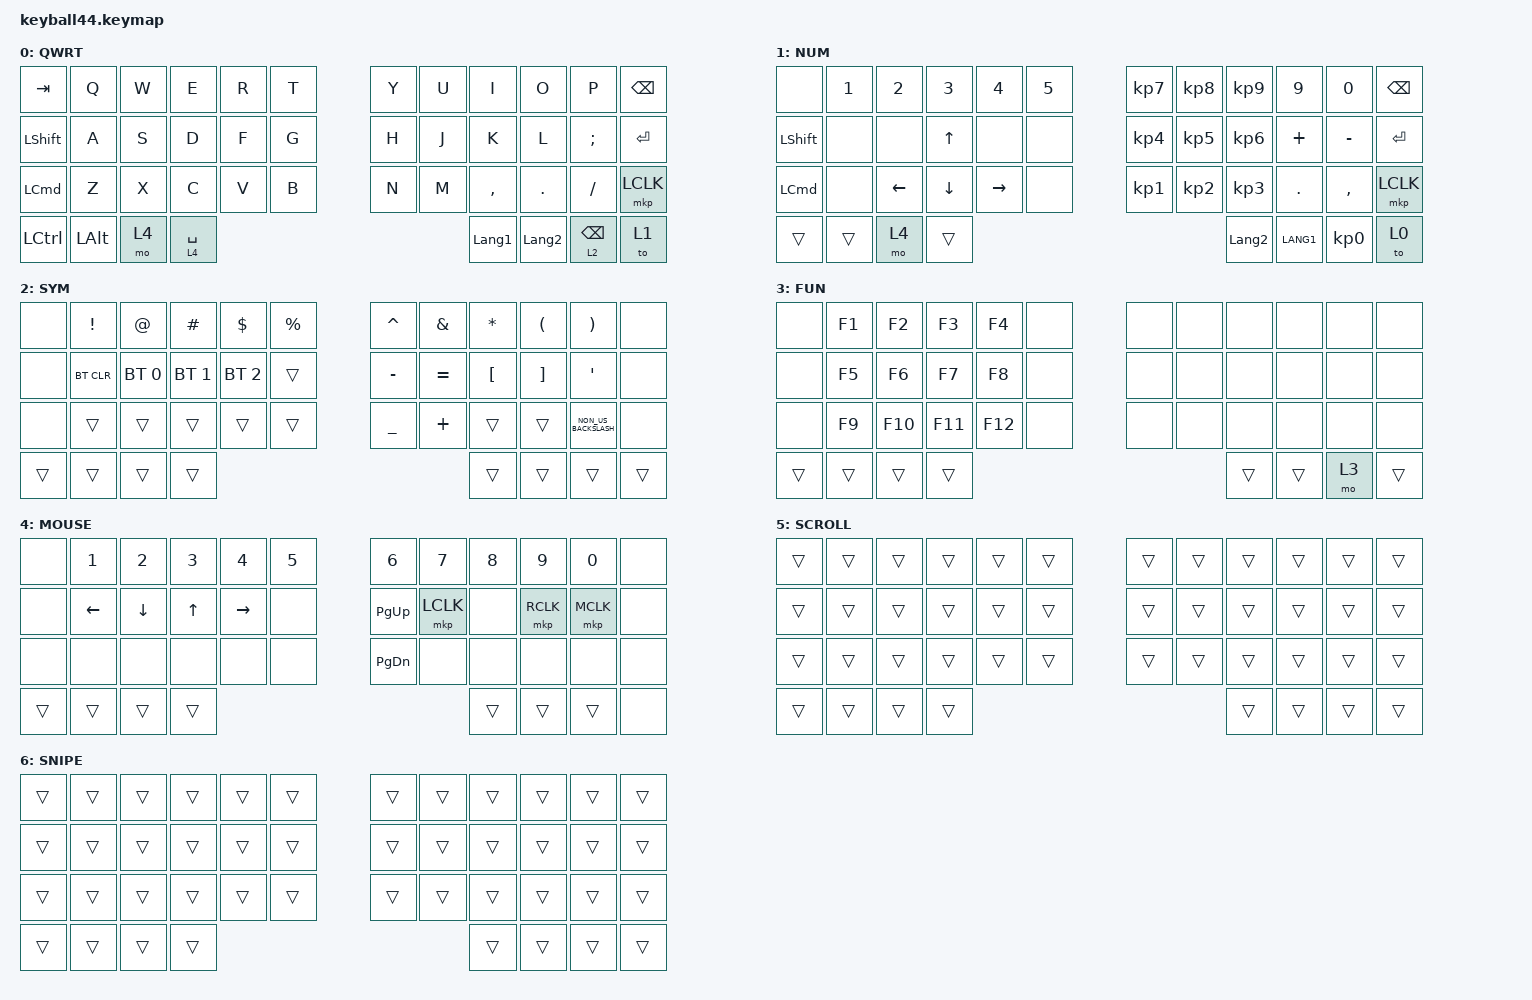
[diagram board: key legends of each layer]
#define DEFAULT 0
#define NUM     1
#define SYM     2
#define FUN     3
#define MOUSE   4
#define SCROLL  5
#define SNIPE   6
#define ZMK_BEHAVIORS_KEEP_MKP

#include <behaviors/mouse_keys.dtsi>
#include <dt-bindings/zmk/mouse.h>
#include <behaviors.dtsi>
#include <dt-bindings/zmk/bt.h>
#include <dt-bindings/zmk/keys.h>
#include <dt-bindings/zmk/pointing.h>

&lt {
    tapping-term-ms = <240>;
    flavor = "balanced";
    quick-tap-ms = <150>;
};

&mt {
    tapping-term-ms = <200>;
    flavor = "tap-preferred";
    quick-tap-ms = <150>;
};

&caps_word { continue-list = <UNDERSCORE MINUS>; };

/ {
    // custom shift using mod-morph 

    behaviors {
        cmqus: comma_question {
            compatible = "zmk,behavior-mod-morph";
            label = "COMMA_QUESTION";
            #binding-cells = <0>;
            bindings = <&kp COMMA>, <&kp QUESTION>;

            mods = <(MOD_LSFT|MOD_RSFT)>;
        };

        dtsmi: dot_semi {
            compatible = "zmk,behavior-mod-morph";
            label = "DOT_SEMI";
            #binding-cells = <0>;
            bindings = <&kp DOT>, <&kp SEMI>;

            mods = <(MOD_LSFT|MOD_RSFT)>;
        };
    };

    keymap {
        compatible = "zmk,keymap";

        default_layer {
            label = "QWRT";
            bindings = <
&kp TAB           &kp Q     &kp W  &kp E        &kp R           &kp T                      &kp Y            &kp U  &kp I      &kp O    &kp P      &kp BACKSPACE
&kp LEFT_SHIFT    &kp A     &kp S  &kp D        &kp F           &kp G                      &kp H            &kp J  &kp K      &kp L    &kp SEMI   &kp ENTER
&kp LEFT_COMMAND  &kp Z     &kp X  &kp C        &kp V           &kp B                      &kp N            &kp M  &kp COMMA  &kp DOT  &kp SLASH  &mkp LCLK
&kp LCTRL         &kp LALT  &mo 4  &lt 4 SPACE  &kp LANGUAGE_1             &kp LANGUAGE_2  &lt 2 BACKSPACE                                        &to 1
            >;
        };

        number_layer {
            label = "NUM";
            bindings = <
&none             &kp NUMBER_1  &kp NUMBER_2  &kp NUMBER_3  &kp NUMBER_4    &kp NUMBER_5                 &kp KP_NUMBER_7  &kp KP_NUMBER_8  &kp KP_NUMBER_9  &kp NUMBER_9  &kp NUMBER_0  &kp BACKSPACE
&kp LEFT_SHIFT    &none         &none         &kp UP_ARROW  &none           &none                        &kp KP_NUMBER_4  &kp KP_NUMBER_5  &kp KP_NUMBER_6  &kp PLUS      &kp MINUS     &kp RET
&kp LEFT_COMMAND  &none         &kp LEFT      &kp DOWN      &kp RIGHT       &none                        &kp KP_NUMBER_1  &kp KP_NUMBER_2  &kp KP_NUMBER_3  &kp DOT       &kp COMMA     &mkp LCLK
&trans            &trans        &mo 4         &trans        &kp LANGUAGE_2                    &kp LANG1  &kp KP_NUMBER_0                                                                &to 0
            >;
        };

        symbol_layer {
            label = "SYM";
            bindings = <
&none   &kp EXCLAMATION  &kp AT_SIGN   &kp HASH      &kp DOLLAR    &kp PERCENT              &kp CARET       &kp AMPERSAND  &kp ASTERISK      &kp LEFT_PARENTHESIS  &kp RIGHT_PARENTHESIS  &none
&none   &bt BT_CLR       &bt BT_SEL 0  &bt BT_SEL 1  &bt BT_SEL 2  &trans                   &kp MINUS       &kp EQUAL      &kp LEFT_BRACKET  &kp RIGHT_BRACKET     &kp SQT                &none
&none   &trans           &trans        &trans        &trans        &trans                   &kp UNDERSCORE  &kp PLUS       &trans            &trans                &kp NON_US_BACKSLASH   &none
&trans  &trans           &trans        &trans        &trans                         &trans  &trans                                                                                        &trans
            >;
        };

        function_layer {
            label = "FUN";
            bindings = <
&none   &kp F1  &kp F2   &kp F3   &kp F4   &none              &none  &none  &none  &none  &none  &none
&none   &kp F5  &kp F6   &kp F7   &kp F8   &none              &none  &none  &none  &none  &none  &none
&none   &kp F9  &kp F10  &kp F11  &kp F12  &none              &none  &none  &none  &none  &none  &none
&trans  &trans  &trans   &trans   &trans              &trans  &mo 3                              &trans
            >;
        };

        mouse_layer {
            label = "MOUSE";
            bindings = <
&none   &kp N1          &kp N2          &kp N3        &kp N4     &kp N5              &kp N6         &kp N7     &kp N8  &kp N9     &kp N0     &none
&none   &kp LEFT_ARROW  &kp DOWN_ARROW  &kp UP_ARROW  &kp RIGHT  &none               &kp PAGE_UP    &mkp LCLK  &none   &mkp RCLK  &mkp MCLK  &none
&none   &none           &none           &none         &none      &none               &kp PAGE_DOWN  &none      &none   &none      &none      &none
&trans  &trans          &trans          &trans        &trans                 &trans  &trans                                                  &none
            >;
        };

        scroll_layer {
            label = "SCROLL";
            bindings = <
&trans  &trans  &trans  &trans  &trans  &trans              &trans  &trans  &trans  &trans  &trans  &trans
&trans  &trans  &trans  &trans  &trans  &trans              &trans  &trans  &trans  &trans  &trans  &trans
&trans  &trans  &trans  &trans  &trans  &trans              &trans  &trans  &trans  &trans  &trans  &trans
&trans  &trans  &trans  &trans  &trans              &trans  &trans                                  &trans
            >;
        };

        snipe_layer {
            label = "SNIPE";
            bindings = <
&trans  &trans  &trans  &trans  &trans  &trans              &trans  &trans  &trans  &trans  &trans  &trans
&trans  &trans  &trans  &trans  &trans  &trans              &trans  &trans  &trans  &trans  &trans  &trans
&trans  &trans  &trans  &trans  &trans  &trans              &trans  &trans  &trans  &trans  &trans  &trans
&trans  &trans  &trans  &trans  &trans              &trans  &trans                                  &trans
            >;
        };
    };
};
